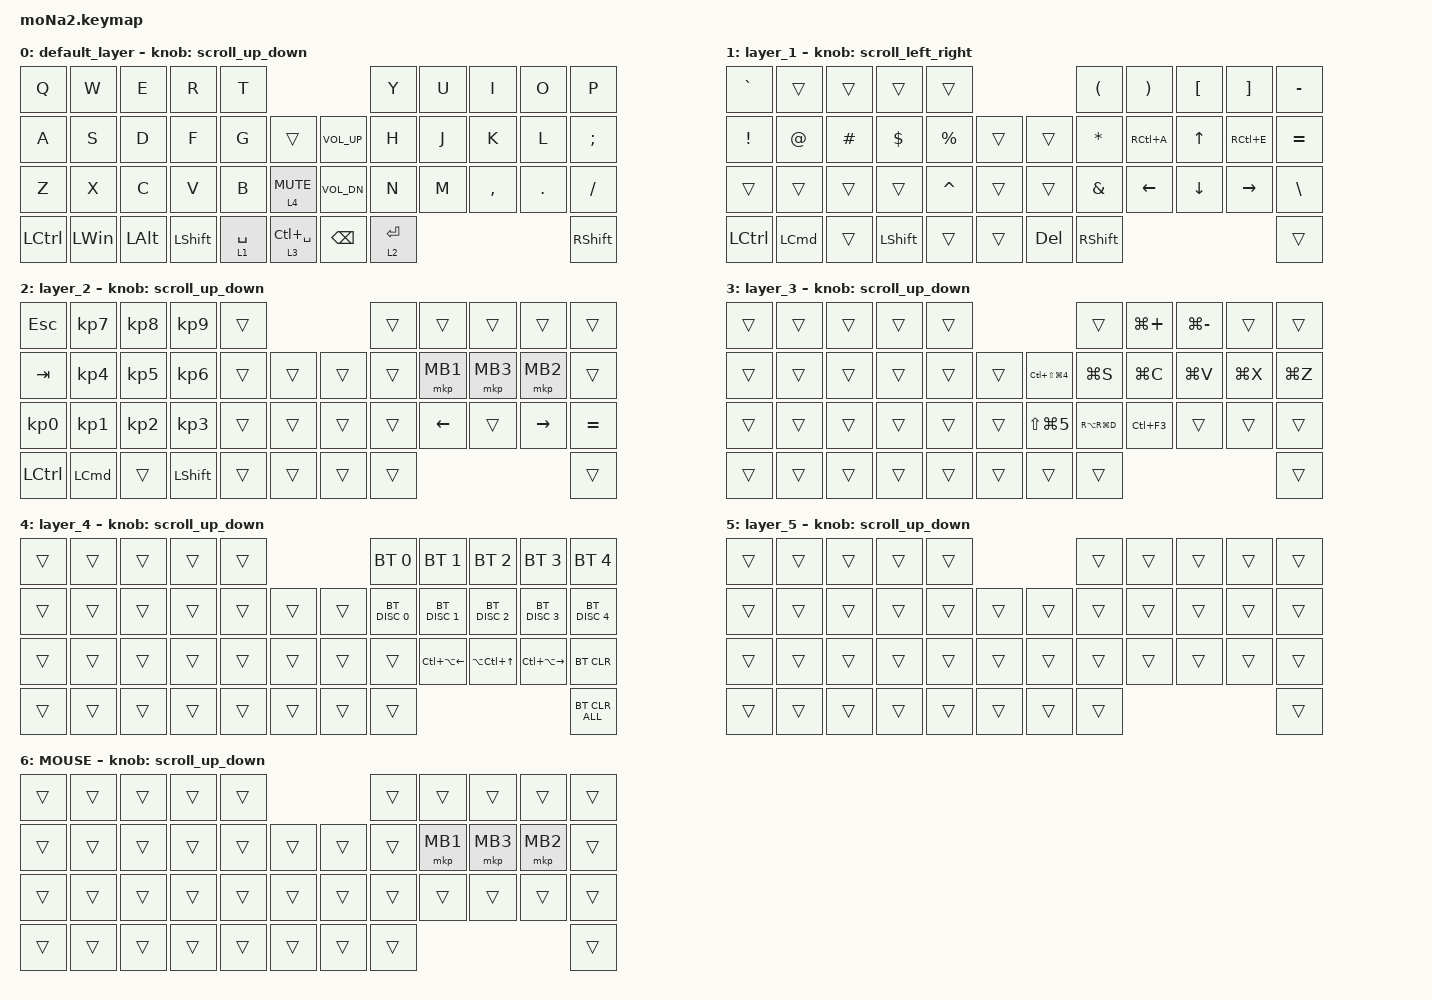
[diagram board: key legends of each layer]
#include <behaviors.dtsi>
#include <dt-bindings/zmk/bt.h>
#include <dt-bindings/zmk/keys.h>
#include <dt-bindings/zmk/pointing.h>

#define ZMK_POINTING_DEFAULT_SCRL_VAL 100
#define MOUSE 6

&mt {
    flavor = "balanced";
    quick-tap-ms = <200>;
};

/ {
    combos {
        compatible = "zmk,combos";

        combo_lctrl {
            timeout-ms = <150>;
            key-positions = <11 12>;
            bindings = <&kp LCTRL>;
        };

        combo_rctrl {
            timeout-ms = <150>;
            key-positions = <19 20>;
            bindings = <&kp RCTRL>;
        };

        esc {
            bindings = <&kp GRAVE>;
            key-positions = <1 0>;
        };

        tab {
            bindings = <&kp TAB>;
            key-positions = <10 11>;
        };

        equal {
            bindings = <&kp MINUS>;
            key-positions = <8 9>;
        };

        sqt {
            bindings = <&kp SQT>;
            key-positions = <20 21>;
        };
    };

    macros {
        to_layer_0: to_layer_0 {
            compatible = "zmk,behavior-macro-one-param";
            #binding-cells = <1>;
            bindings = <&to 0 &macro_param_1to1 &kp MACRO_PLACEHOLDER>;
            label = "TO_LAYER_0";
        };
    };

    behaviors {
        lt_to_layer_0: lt_to_layer_0 {
            compatible = "zmk,behavior-hold-tap";
            label = "LAYER_TAP_TO_0";
            bindings = <&mo>, <&to_layer_0>;

            #binding-cells = <2>;
            tapping-term-ms = <200>;
        };

        scroll_up_down: behavior_sensor_rotate_mouse_wheel_up_down {
            compatible = "zmk,behavior-sensor-rotate";
            #sensor-binding-cells = <0>;
            bindings = <&msc SCRL_UP>, <&msc SCRL_DOWN>;

            tap-ms = <20>;
        };

        scroll_left_right: behavior_sensor_rotate_mouse_wheel_left_right {
            compatible = "zmk,behavior-sensor-rotate";
            #sensor-binding-cells = <0>;
            bindings = <&msc SCRL_LEFT>, <&msc SCRL_RIGHT>;

            tap-ms = <20>;
        };
    };

    keymap {
        compatible = "zmk,keymap";

        default_layer {
            bindings = <
&kp Q      &kp W         &kp E         &kp R           &kp T                                          &kp Y        &kp U  &kp I      &kp O    &kp P
&kp A      &kp S         &kp D         &kp F           &kp G        &trans             &kp C_VOL_UP   &kp H        &kp J  &kp K      &kp L    &kp SEMICOLON
&kp Z      &kp X         &kp C         &kp V           &kp B        &lt 4 K_MUTE       &kp C_VOL_DN   &kp N        &kp M  &kp COMMA  &kp DOT  &kp SLASH
&kp LCTRL  &kp LEFT_WIN  &kp LEFT_ALT  &kp LEFT_SHIFT  &lt 1 SPACE  &lt 3 LC(SPACE)    &kp BACKSPACE  &lt 2 ENTER                             &kp RIGHT_SHIFT
            >;

            sensor-bindings = <&scroll_up_down>;
        };

        layer_1 {
            bindings = <
&kp GRAVE  &trans            &trans    &trans          &trans                        &kp LPAR         &kp RPAR        &kp LBKT        &kp RBKT   &kp MINUS
&kp EXCL   &kp AT            &kp HASH  &kp DLLR        &kp PRCNT  &trans    &trans   &kp STAR         &kp RC(A)       &kp UP_ARROW    &kp RC(E)  &kp EQUAL
&trans     &trans            &trans    &trans          &kp CARET  &trans    &trans   &kp AMPS         &kp LEFT_ARROW  &kp DOWN_ARROW  &kp RIGHT  &kp BACKSLASH
&kp LCTRL  &kp LEFT_COMMAND  &trans    &kp LEFT_SHIFT  &trans     &trans    &kp DEL  &kp RIGHT_SHIFT                                             &trans
            >;

            sensor-bindings = <&scroll_left_right>;
        };

        layer_2 {
            bindings = <
&kp ESC          &kp KP_NUMBER_7  &kp KP_NUMBER_8  &kp KP_NUMBER_9  &trans                    &trans  &trans          &trans    &trans           &trans
&kp TAB          &kp KP_NUMBER_4  &kp KP_NUMBER_5  &kp KP_NUMBER_6  &trans  &trans    &trans  &trans  &mkp MB1        &mkp MB3  &mkp MB2         &trans
&kp KP_NUMBER_0  &kp KP_NUMBER_1  &kp KP_NUMBER_2  &kp KP_NUMBER_3  &trans  &trans    &trans  &trans  &kp LEFT_ARROW  &trans    &kp RIGHT_ARROW  &kp EQUAL
&kp LCTRL        &kp LCMD         &trans           &kp LEFT_SHIFT   &trans  &trans    &trans  &trans                                             &trans
            >;

            sensor-bindings = <&scroll_up_down>;
        };

        layer_3 {
            bindings = <
&trans  &trans  &trans  &trans  &trans                                &trans         &kp LG(PLUS)  &kp LG(MINUS)  &trans     &trans
&trans  &trans  &trans  &trans  &trans  &trans    &kp LC(LS(LG(N4)))  &kp LG(S)      &kp LG(C)     &kp LG(V)      &kp LG(X)  &kp LG(Z)
&trans  &trans  &trans  &trans  &trans  &trans    &kp LS(LG(N5))      &kp RA(RG(D))  &kp LC(F3)    &trans         &trans     &trans
&trans  &trans  &trans  &trans  &trans  &trans    &trans              &trans                                                 &trans
            >;

            sensor-bindings = <&scroll_up_down>;
        };

        layer_4 {
            bindings = <
&trans  &trans  &trans  &trans  &trans                    &bt BT_SEL 0   &bt BT_SEL 1      &bt BT_SEL 2    &bt BT_SEL 3       &bt BT_SEL 4
&trans  &trans  &trans  &trans  &trans  &trans    &trans  &bt BT_DISC 0  &bt BT_DISC 1     &bt BT_DISC 2   &bt BT_DISC 3      &bt BT_DISC 4
&trans  &trans  &trans  &trans  &trans  &trans    &trans  &trans         &kp LC(LA(LEFT))  &kp LA(LC(UP))  &kp LC(LA(RIGHT))  &bt BT_CLR
&trans  &trans  &trans  &trans  &trans  &trans    &trans  &trans                                                              &bt BT_CLR_ALL
            >;

            sensor-bindings = <&scroll_up_down>;
        };

        layer_5 {
            bindings = <
&trans  &trans  &trans  &trans  &trans                    &trans  &trans  &trans  &trans  &trans
&trans  &trans  &trans  &trans  &trans  &trans    &trans  &trans  &trans  &trans  &trans  &trans
&trans  &trans  &trans  &trans  &trans  &trans    &trans  &trans  &trans  &trans  &trans  &trans
&trans  &trans  &trans  &trans  &trans  &trans    &trans  &trans                          &trans
            >;

            sensor-bindings = <&scroll_up_down>;
        };

        MOUSE {
            bindings = <
&trans  &trans  &trans  &trans  &trans                    &trans  &trans    &trans    &trans    &trans
&trans  &trans  &trans  &trans  &trans  &trans    &trans  &trans  &mkp MB1  &mkp MB3  &mkp MB2  &trans
&trans  &trans  &trans  &trans  &trans  &trans    &trans  &trans  &trans    &trans    &trans    &trans
&trans  &trans  &trans  &trans  &trans  &trans    &trans  &trans                                &trans
            >;

            sensor-bindings = <&scroll_up_down>;
        };
    };
};
